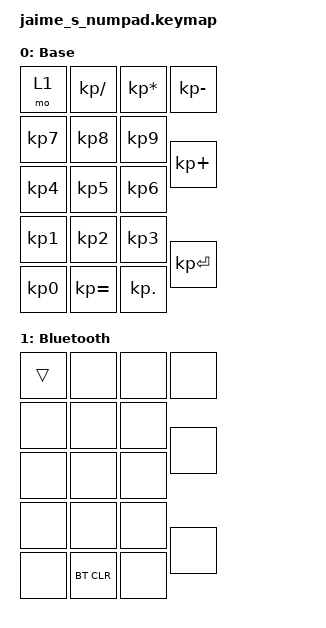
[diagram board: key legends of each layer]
#include <behaviors.dtsi>
#include <dt-bindings/zmk/keys.h>
#include <dt-bindings/zmk/bt.h>

/ {
    keymap {
        compatible = "zmk,keymap";

        default_layer {
            display-name = "Base";
            bindings = <
                &kp KP_EQUAL    &kp KP_N1       &kp KP_N2       &kp KP_N3       &kp KP_N4 
                &kp KP_N5       &kp KP_N6       &kp KP_N7       &kp KP_N8       &kp KP_N9 
                &mo 1           &kp KP_DIVIDE   &kp KP_MULTIPLY &kp KP_MINUS    &kp KP_PLUS 
                &kp KP_ENTER    &kp KP_N0       &kp KP_DOT
            >;
        };

        bt_layer {
            display-name = "Bluetooth";
            bindings = <
                &bt BT_CLR      &none           &none           &none           &none 
                &none           &none           &none           &none           &none 
                &trans          &none           &none           &none           &none 
                &none           &none           &none
            >;
        };
    };
};
